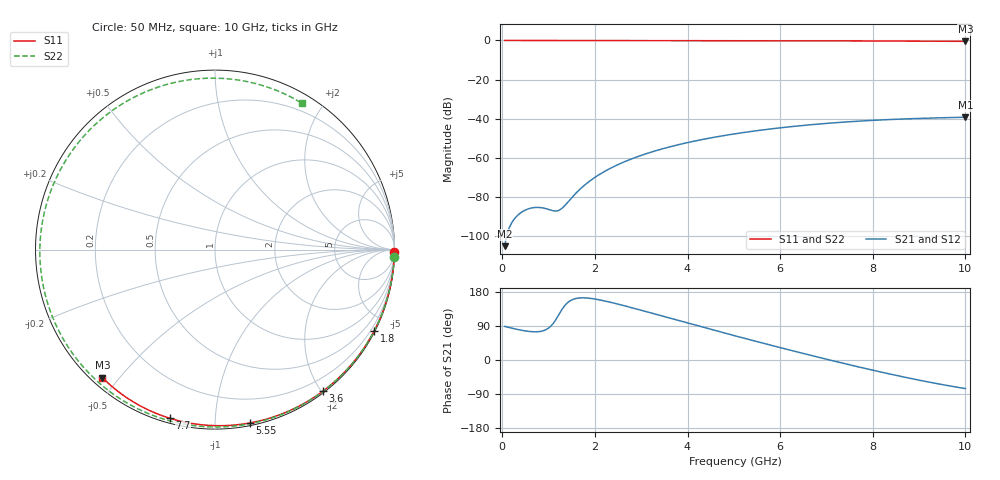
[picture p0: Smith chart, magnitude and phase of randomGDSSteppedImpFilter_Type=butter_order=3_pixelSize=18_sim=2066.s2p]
! freq	dB(S11)	phase(S11)	dB(S12)	phase(S12)
!  dB(S21)	phase(S21)	dB(S22)	phase(S22)
!S-par simulation data
#  GHz  S  DB  R 50
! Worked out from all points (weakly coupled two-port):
!   200 points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, 50 MHz to 10 GHz, reference 50 ohm
!   highest |S21| = -39.25 dB at 10 GHz (marker M1); lowest = -105.2 dB at 50 MHz (marker M2)
!   lowest |S11| = -0.4 dB at 10 GHz (marker M3), VSWR 39.08, Z = 1.54 - j22.6 ohm
!   |S11| at or under -10 dB: nowhere
!   |S22| runs from -0.5 to 0.0 dB; largest |S21 - S12| = 0
!   S11 on the Smith chart (normalised r, x): 50 MHz: open; 1.8 GHz: 0.04, -4.17; 3.6 GHz: 0.02, -2.02; 5.55 GHz: 0.02, -1.22; 7.7 GHz: 0.02, -0.77; 10 GHz: 0.03, -0.45
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0.05  -0.00 -0.8  -105.19 88.7  -105.19 88.7  -0.00 -2.3
0.35  -0.01 -5.3  -88.99 80.1  -88.99 80.1  -0.02 -15.9
0.7  -0.01 -10.6  -85.42 74.4  -85.42 74.4  -0.04 -31.4
1.1  -0.02 -16.6  -87.08 96.5  -87.08 96.5  -0.06 -48.6
1.5  -0.03 -22.5  -80.38 158.6  -80.38 158.6  -0.08 -64.9
1.75  -0.03 -26.2  -74.51 164.0  -74.51 164.0  -0.09 -74.6
1.8  -0.03 -27.0  -73.52 163.8  -73.52 163.8  -0.09 -76.5
2.1  -0.04 -31.3  -68.49 158.7  -68.49 158.7  -0.10 -87.6
2.45  -0.05 -36.4  -64.02 148.9  -64.02 148.9  -0.11 -99.8
2.9  -0.06 -42.9  -59.60 134.5  -59.60 134.5  -0.12 -114.4
3.4  -0.07 -49.9  -55.79 117.8  -55.79 117.8  -0.14 -129.6
3.6  -0.07 -52.7  -54.50 111.1  -54.50 111.1  -0.14 -135.4
4.3  -0.09 -62.3  -50.73 87.6  -50.73 87.6  -0.17 -154.5
5.05  -0.11 -72.2  -47.64 63.0  -47.64 63.0  -0.20 -173.7
5.55  -0.13 -78.7  -45.96 46.9  -45.96 46.9  -0.22 174.0
6.1  -0.15 -85.6  -44.41 29.6  -44.41 29.6  -0.25 160.6
6.7  -0.18 -93.0  -43.01 11.1  -43.01 11.1  -0.28 146.0
7.7  -0.24 -105.0  -41.25 -18.5  -41.25 -18.5  -0.34 121.2
8.35  -0.29 -112.6  -40.45 -36.5  -40.45 -36.5  -0.37 104.5
8.8  -0.32 -117.7  -40.02 -48.2  -40.02 -48.2  -0.39 92.5
9.2  -0.36 -122.3  -39.72 -58.0  -39.72 -58.0  -0.41 81.6
10  -0.44 -131.3  -39.25 -75.4  -39.25 -75.4  -0.46 59.2
